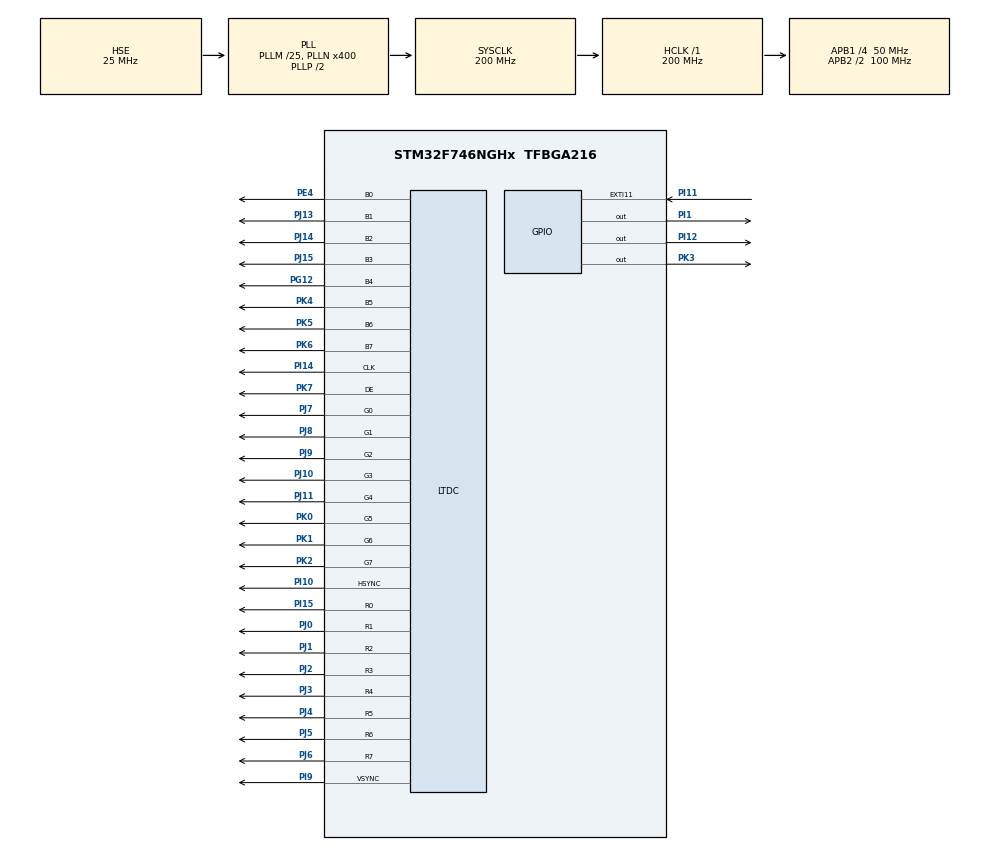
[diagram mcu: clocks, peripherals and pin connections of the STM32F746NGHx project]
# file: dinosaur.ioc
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CORTEX_M7.AccessPermission_Spec=MPU_REGION_FULL_ACCESS
CORTEX_M7.BaseAddress_Spec=0x20010000
CORTEX_M7.CPU_DCache=Enabled
CORTEX_M7.CPU_ICache=Enabled
CORTEX_M7.DisableExec_Spec=MPU_INSTRUCTION_ACCESS_ENABLE
CORTEX_M7.IsCacheable_Spec=MPU_ACCESS_CACHEABLE
CORTEX_M7.IsShareable_Spec=MPU_ACCESS_NOT_SHAREABLE
CORTEX_M7.Size_Spec=MPU_REGION_SIZE_256KB
LTDC.ActiveH=272
LTDC.ActiveW=480
LTDC.Alpha_L0=255
LTDC.HBP=13
LTDC.HFP=32
LTDC.HSync=41
LTDC.ImageHeight_L0=272
LTDC.ImageWidth_L0=480
LTDC.Layers=0
LTDC.PixelFormat_L0=LTDC_PIXEL_FORMAT_RGB565
LTDC.VSync=10
LTDC.WindowX1_L0=480
LTDC.WindowY1_L0=272
Mcu.Family=STM32F7
Mcu.Name=STM32F746NGHx
Mcu.Package=TFBGA216
NVIC.EXTI15_10_IRQn=true\:0\:0\:false\:false\:true\:true\:true\:true
NVIC.PriorityGroup=NVIC_PRIORITYGROUP_4
NVIC.TIM3_IRQn=true\:0\:0\:false\:false\:true\:true\:true\:true
PA13.Mode=Serial_Wire
PA13.Signal=SYS_JTMS-SWDIO
PA14.Mode=Serial_Wire
PA14.Signal=SYS_JTCK-SWCLK
PE4.GPIO_Speed=GPIO_SPEED_FREQ_HIGH
PE4.Mode=RGB888
PE4.Signal=LTDC_B0
PG12.GPIO_Speed=GPIO_SPEED_FREQ_HIGH
PG12.Mode=RGB888
PG12.Signal=LTDC_B4
PH0/OSC_IN.Mode=HSE-External-Oscillator
PH0/OSC_IN.Signal=RCC_OSC_IN
PH1/OSC_OUT.Mode=HSE-External-Oscillator
PH1/OSC_OUT.Signal=RCC_OSC_OUT
PI1.Signal=GPIO_Output
PI10.GPIO_Speed=GPIO_SPEED_FREQ_HIGH
PI10.Mode=RGB888
PI10.Signal=LTDC_HSYNC
PI11.Signal=GPXTI11
PI12.GPIO_Speed=GPIO_SPEED_FREQ_HIGH
PI12.PinState=GPIO_PIN_SET
PI12.Signal=GPIO_Output
PI14.GPIO_Speed=GPIO_SPEED_FREQ_HIGH
PI14.Mode=RGB888
PI14.Signal=LTDC_CLK
PI15.GPIO_Speed=GPIO_SPEED_FREQ_HIGH
PI15.Mode=RGB888
PI15.Signal=LTDC_R0
PI9.GPIO_Speed=GPIO_SPEED_FREQ_HIGH
PI9.Mode=RGB888
PI9.Signal=LTDC_VSYNC
PJ0.GPIO_Speed=GPIO_SPEED_FREQ_HIGH
PJ0.Mode=RGB888
PJ0.Signal=LTDC_R1
PJ1.GPIO_Speed=GPIO_SPEED_FREQ_HIGH
PJ1.Mode=RGB888
PJ1.Signal=LTDC_R2
PJ10.GPIO_Speed=GPIO_SPEED_FREQ_HIGH
PJ10.Mode=RGB888
PJ10.Signal=LTDC_G3
PJ11.GPIO_Speed=GPIO_SPEED_FREQ_HIGH
PJ11.Mode=RGB888
PJ11.Signal=LTDC_G4
PJ13.GPIO_Speed=GPIO_SPEED_FREQ_HIGH
PJ13.Mode=RGB888
PJ13.Signal=LTDC_B1
PJ14.GPIO_Speed=GPIO_SPEED_FREQ_HIGH
PJ14.Mode=RGB888
PJ14.Signal=LTDC_B2
PJ15.GPIO_Speed=GPIO_SPEED_FREQ_HIGH
PJ15.Mode=RGB888
PJ15.Signal=LTDC_B3
PJ2.GPIO_Speed=GPIO_SPEED_FREQ_HIGH
PJ2.Mode=RGB888
PJ2.Signal=LTDC_R3
PJ3.GPIO_Speed=GPIO_SPEED_FREQ_HIGH
PJ3.Mode=RGB888
PJ3.Signal=LTDC_R4
PJ4.GPIO_Speed=GPIO_SPEED_FREQ_HIGH
PJ4.Mode=RGB888
PJ4.Signal=LTDC_R5
PJ5.GPIO_Speed=GPIO_SPEED_FREQ_HIGH
PJ5.Mode=RGB888
PJ5.Signal=LTDC_R6
PJ6.GPIO_Speed=GPIO_SPEED_FREQ_HIGH
PJ6.Mode=RGB888
PJ6.Signal=LTDC_R7
PJ7.GPIO_Speed=GPIO_SPEED_FREQ_HIGH
PJ7.Mode=RGB888
PJ7.Signal=LTDC_G0
PJ8.GPIO_Speed=GPIO_SPEED_FREQ_HIGH
PJ8.Mode=RGB888
PJ8.Signal=LTDC_G1
PJ9.GPIO_Speed=GPIO_SPEED_FREQ_HIGH
PJ9.Mode=RGB888
PJ9.Signal=LTDC_G2
PK0.GPIO_Speed=GPIO_SPEED_FREQ_HIGH
PK0.Mode=RGB888
PK0.Signal=LTDC_G5
PK1.GPIO_Speed=GPIO_SPEED_FREQ_HIGH
PK1.Mode=RGB888
PK1.Signal=LTDC_G6
PK2.GPIO_Speed=GPIO_SPEED_FREQ_HIGH
PK2.Mode=RGB888
PK2.Signal=LTDC_G7
PK3.GPIO_Speed=GPIO_SPEED_FREQ_HIGH
PK3.PinState=GPIO_PIN_SET
PK3.Signal=GPIO_Output
PK4.GPIO_Speed=GPIO_SPEED_FREQ_HIGH
PK4.Mode=RGB888
PK4.Signal=LTDC_B5
PK5.GPIO_Speed=GPIO_SPEED_FREQ_HIGH
PK5.Mode=RGB888
PK5.Signal=LTDC_B6
PK6.GPIO_Speed=GPIO_SPEED_FREQ_HIGH
PK6.Mode=RGB888
PK6.Signal=LTDC_B7
PK7.GPIO_Speed=GPIO_SPEED_FREQ_HIGH
PK7.Mode=RGB888
PK7.Signal=LTDC_DE
ProjectManager.HeapSize=0x2000
ProjectManager.StackSize=0x4000
ProjectManager.TargetToolchain=STM32CubeIDE
RCC.AHBFreq_Value=200000000
RCC.APB1CLKDivider=RCC_HCLK_DIV4
RCC.APB1Freq_Value=50000000
RCC.APB1TimFreq_Value=100000000
RCC.APB2CLKDivider=RCC_HCLK_DIV2
RCC.APB2Freq_Value=100000000
RCC.APB2TimFreq_Value=200000000
RCC.CortexFreq_Value=200000000
RCC.HCLKFreq_Value=200000000
RCC.HSE_VALUE=25000000
RCC.HSI_VALUE=16000000
RCC.LSE_VALUE=32768
RCC.PLL48CLockSelection=RCC_CLK48SOURCE_PLLSAIP
RCC.PLLM=25
RCC.PLLN=400
RCC.PLLQ=8
RCC.PLLSAIP=RCC_PLLSAIP_DIV4
RCC.PLLSAIRDiv=RCC_PLLSAIDIVR_4
RCC.PLLSourceVirtual=RCC_PLLSOURCE_HSE
RCC.SYSCLKFreq_VALUE=200000000
RCC.SYSCLKSource=RCC_SYSCLKSOURCE_PLLCLK
RCC.USBFreq_Value=48000000
RCC.VCOOutputFreq_Value=400000000
TIM3.Period=60000
TIM3.Prescaler=1
VP_RNG_VS_RNG.Mode=RNG_Activate
VP_TIM3_VS_ClockSourceINT.Mode=Internal
board=custom

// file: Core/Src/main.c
/* USER CODE BEGIN Header */
/**
  ******************************************************************************
  * @file           : main.c
  * @brief          : Main program body
  ******************************************************************************
  * @attention
  *
  * Copyright (c) 2024 STMicroelectronics.
  * All rights reserved.
  *
  * This software is licensed under terms that can be found in the LICENSE file
  * in the root directory of this software component.
  * If no LICENSE file comes with this software, it is provided AS-IS.
  *
  ******************************************************************************
  */
/* USER CODE END Header */
#include "main.h"

/* USER CODE BEGIN Includes */
#include "ltdc.h"
/* USER CODE END Includes */

LTDC_HandleTypeDef hltdc;

RNG_HandleTypeDef hrng;

TIM_HandleTypeDef htim3;

/* USER CODE BEGIN PV */
volatile uint32_t RGB565_480x272[65280] = {0x00000000};

/* USER CODE END PV */

void SystemClock_Config(void);
void PeriphCommonClock_Config(void);
static void MX_GPIO_Init(void);
static void MX_LTDC_Init(void);
static void MX_RNG_Init(void);
static void MX_TIM3_Init(void);

/* USER CODE BEGIN 0 */
int counter = 0;
const int max_counter = 10000;
void HAL_TIM_PeriodElapsedCallback(TIM_HandleTypeDef *htim)
{
        if(htim->Instance == TIM3) //check if the interrupt comes from TIM3
        {
            counter++;
            if (counter == max_counter) counter = 0;
        }
}
/* USER CODE END 0 */

int main(void)
{
  /* USER CODE BEGIN 1 */
	int flagJump = 0;
	int flagRun = 1;
	int flagLegs = 1;
	int flagTimerFix = 0;
	int flagSecondFirst = 0;
//	int flagSpeed = 1;
	int GameOn = 1;
	int speed = 20;
	int limit = 460;
	int Step = 0;
	int tipaRand = 0;
	uint32_t x1 = limit + 1, x2 = limit + 1, y = 0;
	uint32_t color;
	uint32_t color1 = (uint32_t)0xFFFF;
	uint32_t color2 = (uint32_t)0;
	int counter_step = 1500;
	int prev_counter = -1;
	int counter_button = counter_step - 1;
	int num_of_obstacles = 0;
  /* USER CODE END 1 */
/* Enable the CPU Cache */

  /* Enable I-Cache---------------------------------------------------------*/
  SCB_EnableICache();

  /* Enable D-Cache---------------------------------------------------------*/
  SCB_EnableDCache();

  /* MCU Configuration--------------------------------------------------------*/

  /* Reset of all peripherals, Initializes the Flash interface and the Systick. */
  HAL_Init();

  /* Configure the system clock */
  SystemClock_Config();

/* Configure the peripherals common clocks */
  PeriphCommonClock_Config();

  /* Initialize all configured peripherals */
  MX_GPIO_Init();
  MX_LTDC_Init();
  MX_RNG_Init();
  MX_TIM3_Init();
  /* USER CODE BEGIN 2 */
  HAL_LTDC_SetAddress(&hltdc,(uint32_t) &RGB565_480x272,0);

  __HAL_TIM_CLEAR_FLAG(&htim3, TIM_SR_UIF);
  HAL_TIM_Base_Start_IT(&htim3);

  FillScreenDayOrNight(color1);
  DrawLine(color2);
  DrawMainCharacter(color2, 0);
  /* USER CODE END 2 */

  /* Infinite loop */
  while (1)
  {

    /* USER CODE BEGIN 3 */
	  if (GameOn == 1) {
		  if ((HAL_GPIO_ReadPin(GPIOI, GPIO_PIN_11) == GPIO_PIN_SET ) && (flagJump == -1))
		  {
			  flagJump = 1;
			  tipaRand = counter;
		  }
		  if (flagJump == 1)
		  {
			  if (flagTimerFix == 0) {
				  counter_button = counter;
				  flagTimerFix = 1;
			  }
			  DrawMainCharacter(color1, 0);
			  DrawMainCharacter(color2, 40);
			  y = 40;
			  flagJump = 0;
		  }
//		  if ((counter % 10000 == 9999) && (speed > 2) && (flagSpeed == 1)) {
//			  speed = speed - 1;
//			  flagSpeed = 0;
//			  counter_step -= 50;
//		  } else flagSpeed = 1;
		  if ((counter == counter_button + counter_step) || ((counter == counter_step - (max_counter - counter_button)) && (counter_button + counter_step >= max_counter))) {
			  DrawMainCharacter(color1, 40);
			  DrawMainCharacter(color2, 0);
			  y = 0;
			  flagTimerFix = 0;
			  counter_button = counter_step - 1;
		  }
		  if (HAL_GPIO_ReadPin(GPIOI, GPIO_PIN_11) == GPIO_PIN_RESET)
		  {
			  flagJump = -1;
		  }
		  if ((counter % speed == speed - 1) && (flagRun == 1)) {
			  if (x1 < limit) {
				  x1 = x1 + 1;
				  flagRun = 0;
				  DrawObstacle(color1, x1 - 1);
				  DrawObstacle(color2, x1);
			  } else if (x1 == limit) {
				  DrawObstacle(color1, x1 - 1);
				  DrawObstacle(color1, x1);
				  num_of_obstacles -= 1;
				  prev_counter = counter;
				  flagSecondFirst = 0;
				  x1 += 1;
			  }
			  if (x2 < limit) {
				  x2 = x2 + 1;
				  flagRun = 0;
				  DrawObstacle(color1, x2 - 1);
				  DrawObstacle(color2, x2);
			  } else if (x2 == limit) {
				  DrawObstacle(color1, x2 - 1);
				  DrawObstacle(color1, x2);
				  num_of_obstacles -= 1;
				  prev_counter = counter;
				  flagSecondFirst = 0;
				  x2 += 1;
			  }
		  }
		  else if (counter % speed == 0) flagRun = 1;
		  if ((counter % 1000 >= 500) && (y == 0) && (flagLegs == 1)) {
			  flagLegs = 0;
			  DrawLegsClear(color1);
			  DrawLegsMainCharacter(color2, 1);
		  }
		  else if ((counter % 1000 < 500) && (y == 0) && (flagLegs == 0)) {
			  DrawLegsClear(color1);
			  DrawLegsMainCharacter(color2, 0);
			  flagLegs = 1;
		  }
		  if ((num_of_obstacles == 0) && (counter % 2000 == 1000 + tipaRand%1000)) {
			  x1 = 0;
			  num_of_obstacles = 1;
			  prev_counter = counter;
			  flagSecondFirst = 1;
		  }
		  if (flagSecondFirst == 0) {
		  			  Step = 500 + tipaRand % 5000;
		  }
		  else {
			  Step = 2000 + tipaRand % 5000;
		  }
		  if ((num_of_obstacles == 1) && ((counter == prev_counter + Step)
				  || ((counter == Step - (max_counter - prev_counter)) && (prev_counter + Step >= max_counter)))) { // добавить генератор рандома
			  if (x1 == limit + 1) {
				  x1 = 0;
				  num_of_obstacles = 2;
			  }
			  if (x2 == limit + 1) {
				  x2 = 0;
				  num_of_obstacles = 2;
			  }
		  }
		  if (counter == 0) {
			  color = color1;
			  color1 = color2;
			  color2 = color;
			  FillScreenDayOrNight(color1);
			  DrawLine(color2);
			  DrawMainCharacter(color1, 40 - y);
			  DrawMainCharacter(color2, y);
		  }
		  if ((y == 0) && (((x1 >= 205) && (x1 < 260)) || ((x2 >= 205) && (x2 < 260)))) {
		  	  GameOn = 0;
		  }
	  }
	  else if (GameOn == 0) {
		  DrawLine(color2);
		  DrawGameOver(color2);
		  DrawMainCharacter(color2, 0);
		  if ((x1 >= 0) && (x1 <= limit)) {
			DrawObstacle(color2, x1);
		  }
		  if ((x2 >= 0) && (x2 <= limit)) {
			DrawObstacle(color2, x2);
		  }
		  GameOn = -1;
	  }
  }
  /* USER CODE END 3 */
}

void SystemClock_Config(void)
{
  RCC_OscInitTypeDef RCC_OscInitStruct = {0};
  RCC_ClkInitTypeDef RCC_ClkInitStruct = {0};

  /** Configure the main internal regulator output voltage
  */
  __HAL_RCC_PWR_CLK_ENABLE();
  __HAL_PWR_VOLTAGESCALING_CONFIG(PWR_REGULATOR_VOLTAGE_SCALE1);

  /** Initializes the RCC Oscillators according to the specified parameters
  * in the RCC_OscInitTypeDef structure.
  */
  RCC_OscInitStruct.OscillatorType = RCC_OSCILLATORTYPE_HSE;
  RCC_OscInitStruct.HSEState = RCC_HSE_ON;
  RCC_OscInitStruct.PLL.PLLState = RCC_PLL_ON;
  RCC_OscInitStruct.PLL.PLLSource = RCC_PLLSOURCE_HSE;
  RCC_OscInitStruct.PLL.PLLM = 25;
  RCC_OscInitStruct.PLL.PLLN = 400;
  RCC_OscInitStruct.PLL.PLLP = RCC_PLLP_DIV2;
  RCC_OscInitStruct.PLL.PLLQ = 8;
  if (HAL_RCC_OscConfig(&RCC_OscInitStruct) != HAL_OK)
  {
    Error_Handler();
  }

  /** Activate the Over-Drive mode
  */
  if (HAL_PWREx_EnableOverDrive() != HAL_OK)
  {
    Error_Handler();
  }

  /** Initializes the CPU, AHB and APB buses clocks
  */
  RCC_ClkInitStruct.ClockType = RCC_CLOCKTYPE_HCLK|RCC_CLOCKTYPE_SYSCLK
                              |RCC_CLOCKTYPE_PCLK1|RCC_CLOCKTYPE_PCLK2;
  RCC_ClkInitStruct.SYSCLKSource = RCC_SYSCLKSOURCE_PLLCLK;
  RCC_ClkInitStruct.AHBCLKDivider = RCC_SYSCLK_DIV1;
  RCC_ClkInitStruct.APB1CLKDivider = RCC_HCLK_DIV4;
  RCC_ClkInitStruct.APB2CLKDivider = RCC_HCLK_DIV2;

  if (HAL_RCC_ClockConfig(&RCC_ClkInitStruct, FLASH_LATENCY_6) != HAL_OK)
  {
    Error_Handler();
  }
}

void PeriphCommonClock_Config(void)
{
  RCC_PeriphCLKInitTypeDef PeriphClkInitStruct = {0};

  /** Initializes the peripherals clock
  */
  PeriphClkInitStruct.PeriphClockSelection = RCC_PERIPHCLK_LTDC|RCC_PERIPHCLK_CLK48;
  PeriphClkInitStruct.PLLSAI.PLLSAIN = 192;
  PeriphClkInitStruct.PLLSAI.PLLSAIR = 2;
  PeriphClkInitStruct.PLLSAI.PLLSAIQ = 2;
  PeriphClkInitStruct.PLLSAI.PLLSAIP = RCC_PLLSAIP_DIV4;
  PeriphClkInitStruct.PLLSAIDivQ = 1;
  PeriphClkInitStruct.PLLSAIDivR = RCC_PLLSAIDIVR_4;
  PeriphClkInitStruct.Clk48ClockSelection = RCC_CLK48SOURCE_PLLSAIP;
  if (HAL_RCCEx_PeriphCLKConfig(&PeriphClkInitStruct) != HAL_OK)
  {
    Error_Handler();
  }
}

static void MX_LTDC_Init(void)
{

  LTDC_LayerCfgTypeDef pLayerCfg = {0};

  hltdc.Instance = LTDC;
  hltdc.Init.HSPolarity = LTDC_HSPOLARITY_AL;
  hltdc.Init.VSPolarity = LTDC_VSPOLARITY_AL;
  hltdc.Init.DEPolarity = LTDC_DEPOLARITY_AL;
  hltdc.Init.PCPolarity = LTDC_PCPOLARITY_IPC;
  hltdc.Init.HorizontalSync = 40;
  hltdc.Init.VerticalSync = 9;
  hltdc.Init.AccumulatedHBP = 53;
  hltdc.Init.AccumulatedVBP = 11;
  hltdc.Init.AccumulatedActiveW = 533;
  hltdc.Init.AccumulatedActiveH = 283;
  hltdc.Init.TotalWidth = 565;
  hltdc.Init.TotalHeigh = 285;
  hltdc.Init.Backcolor.Blue = 0;
  hltdc.Init.Backcolor.Green = 0;
  hltdc.Init.Backcolor.Red = 0;
  if (HAL_LTDC_Init(&hltdc) != HAL_OK)
  {
    Error_Handler();
  }
  pLayerCfg.WindowX0 = 0;
  pLayerCfg.WindowX1 = 480;
  pLayerCfg.WindowY0 = 0;
  pLayerCfg.WindowY1 = 272;
  pLayerCfg.PixelFormat = LTDC_PIXEL_FORMAT_RGB565;
  pLayerCfg.Alpha = 255;
  pLayerCfg.Alpha0 = 0;
  pLayerCfg.BlendingFactor1 = LTDC_BLENDING_FACTOR1_CA;
  pLayerCfg.BlendingFactor2 = LTDC_BLENDING_FACTOR2_CA;
  pLayerCfg.FBStartAdress = 0;
  pLayerCfg.ImageWidth = 480;
  pLayerCfg.ImageHeight = 272;
  pLayerCfg.Backcolor.Blue = 0;
  pLayerCfg.Backcolor.Green = 0;
  pLayerCfg.Backcolor.Red = 0;
  if (HAL_LTDC_ConfigLayer(&hltdc, &pLayerCfg, 0) != HAL_OK)
  {
    Error_Handler();
  }

}

static void MX_RNG_Init(void)
{

  hrng.Instance = RNG;
  if (HAL_RNG_Init(&hrng) != HAL_OK)
  {
    Error_Handler();
  }

}

static void MX_TIM3_Init(void)
{

  TIM_ClockConfigTypeDef sClockSourceConfig = {0};
  TIM_MasterConfigTypeDef sMasterConfig = {0};

  htim3.Instance = TIM3;
  htim3.Init.Prescaler = 1;
  htim3.Init.CounterMode = TIM_COUNTERMODE_UP;
  htim3.Init.Period = 60000;
  htim3.Init.ClockDivision = TIM_CLOCKDIVISION_DIV1;
  htim3.Init.AutoReloadPreload = TIM_AUTORELOAD_PRELOAD_DISABLE;
  if (HAL_TIM_Base_Init(&htim3) != HAL_OK)
  {
    Error_Handler();
  }
  sClockSourceConfig.ClockSource = TIM_CLOCKSOURCE_INTERNAL;
  if (HAL_TIM_ConfigClockSource(&htim3, &sClockSourceConfig) != HAL_OK)
  {
    Error_Handler();
  }
  sMasterConfig.MasterOutputTrigger = TIM_TRGO_RESET;
  sMasterConfig.MasterSlaveMode = TIM_MASTERSLAVEMODE_DISABLE;
  if (HAL_TIMEx_MasterConfigSynchronization(&htim3, &sMasterConfig) != HAL_OK)
  {
    Error_Handler();
  }

}

static void MX_GPIO_Init(void)
{
  GPIO_InitTypeDef GPIO_InitStruct = {0};

  /* GPIO Ports Clock Enable */
  __HAL_RCC_GPIOE_CLK_ENABLE();
  __HAL_RCC_GPIOA_CLK_ENABLE();
  __HAL_RCC_GPIOJ_CLK_ENABLE();
  __HAL_RCC_GPIOK_CLK_ENABLE();
  __HAL_RCC_GPIOG_CLK_ENABLE();
  __HAL_RCC_GPIOI_CLK_ENABLE();
  __HAL_RCC_GPIOH_CLK_ENABLE();

  /*Configure GPIO pin Output Level */
  HAL_GPIO_WritePin(GPIOK, GPIO_PIN_3, GPIO_PIN_SET);

  /*Configure GPIO pin Output Level */
  HAL_GPIO_WritePin(GPIOI, GPIO_PIN_1, GPIO_PIN_RESET);

  /*Configure GPIO pin Output Level */
  HAL_GPIO_WritePin(GPIOI, GPIO_PIN_12, GPIO_PIN_SET);

  /*Configure GPIO pin : PK3 */
  GPIO_InitStruct.Pin = GPIO_PIN_3;
  GPIO_InitStruct.Mode = GPIO_MODE_OUTPUT_PP;
  GPIO_InitStruct.Pull = GPIO_NOPULL;
  GPIO_InitStruct.Speed = GPIO_SPEED_FREQ_HIGH;
  HAL_GPIO_Init(GPIOK, &GPIO_InitStruct);

  /*Configure GPIO pin : PI1 */
  GPIO_InitStruct.Pin = GPIO_PIN_1;
  GPIO_InitStruct.Mode = GPIO_MODE_OUTPUT_PP;
  GPIO_InitStruct.Pull = GPIO_NOPULL;
  GPIO_InitStruct.Speed = GPIO_SPEED_FREQ_LOW;
  HAL_GPIO_Init(GPIOI, &GPIO_InitStruct);

  /*Configure GPIO pin : PI12 */
  GPIO_InitStruct.Pin = GPIO_PIN_12;
  GPIO_InitStruct.Mode = GPIO_MODE_OUTPUT_PP;
  GPIO_InitStruct.Pull = GPIO_NOPULL;
  GPIO_InitStruct.Speed = GPIO_SPEED_FREQ_HIGH;
  HAL_GPIO_Init(GPIOI, &GPIO_InitStruct);

  /*Configure GPIO pin : PI11 */
  GPIO_InitStruct.Pin = GPIO_PIN_11;
  GPIO_InitStruct.Mode = GPIO_MODE_IT_RISING;
  GPIO_InitStruct.Pull = GPIO_NOPULL;
  HAL_GPIO_Init(GPIOI, &GPIO_InitStruct);

  /* EXTI interrupt init*/
  HAL_NVIC_SetPriority(EXTI15_10_IRQn, 0, 0);
  HAL_NVIC_EnableIRQ(EXTI15_10_IRQn);

}

void Error_Handler(void)
{
  __disable_irq();
  while (1)
  {
  }
}
